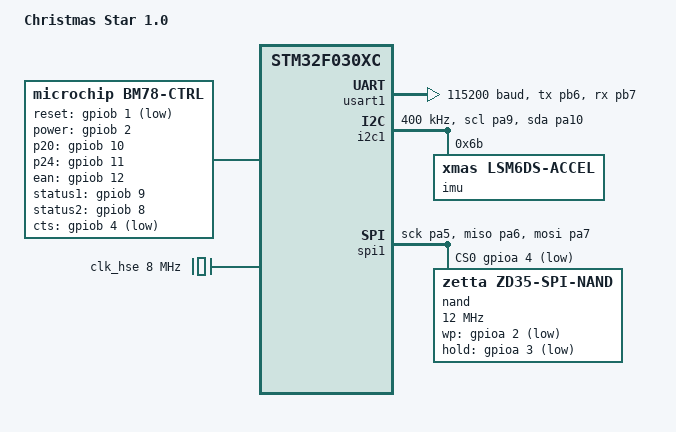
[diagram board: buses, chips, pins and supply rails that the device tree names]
/*
 * Copyright (c) 2024-2026 Tuomas Terho
 * SPDX-License-Identifier: MIT
 *
 * Christmas Star hardware 1.0
 * MCU: STM32F030RCT6, 8 MHz HCMOS oscillator (X401) on PF0 (HSE bypass).
 */

/dts-v1/;
#include <st/f0/stm32f030Xc.dtsi>
#include <st/f0/stm32f030rctx-pinctrl.dtsi>
#include <zephyr/dt-bindings/led/led.h>
#include <zephyr/dt-bindings/gpio/gpio.h>

/ {
	model = "Christmas Star 1.0";
	compatible = "xmas,christmas-star";

	chosen {
		zephyr,shell-uart = &usart1;
		zephyr,sram = &sram0;
		zephyr,flash = &flash0;
		zephyr,settings-partition = &storage_partition;
		zephyr,code-partition = &slot0_partition;
	};

	aliases {
		led-strip = &led_strip;
	};

	/* BM78 Bluetooth SPP module (U502) control and status lines. */
	bm78: bm78 {
		compatible = "microchip,bm78-ctrl";
		reset-gpios = <&gpiob 1 GPIO_ACTIVE_LOW>;     /* BT-RESET    -> ~RST    */
		power-gpios = <&gpiob 2 GPIO_ACTIVE_HIGH>;    /* BT-POWER-ON -> SW_BTN  */
		p20-gpios = <&gpiob 10 GPIO_ACTIVE_HIGH>;     /* BT-CONF-0   -> P2_0    */
		p24-gpios = <&gpiob 11 GPIO_ACTIVE_HIGH>;     /* BT-CONF-1   -> P2_4    */
		ean-gpios = <&gpiob 12 GPIO_ACTIVE_HIGH>;     /* BT-CONF-EAN -> EAN     */
		status1-gpios = <&gpiob 9 GPIO_ACTIVE_HIGH>;  /* BT-STATUS-1 <- P1_5    */
		status2-gpios = <&gpiob 8 GPIO_ACTIVE_HIGH>;  /* BT-STATUS-2 <- P0_4    */
		cts-gpios = <&gpiob 4 GPIO_ACTIVE_LOW>;       /* UART-CTS    -> P1_7 (BM78 CTS input)  */
		rts-gpios = <&gpiob 3 GPIO_ACTIVE_LOW>;       /* UART-RTS    <- P0_0 (BM78 RTS output) */
	};
};

&clk_hse {
	hse-bypass;
	clock-frequency = <DT_FREQ_M(8)>;
	status = "okay";
};

&pll {
	prediv = <1>;
	mul = <6>;
	clocks = <&clk_hse>;
	status = "okay";
};

&rcc {
	clocks = <&pll>;
	clock-frequency = <DT_FREQ_M(48)>;
	ahb-prescaler = <1>;
	apb1-prescaler = <1>;
};

/* Unused ports, saves RAM. */
&gpiod {
	status = "disabled";
};

&gpiof {
	status = "disabled";
};

/* BM78 serial link (shell + XMODEM). Hardware flow control is not
 * available on PB3/PB4, so they are driven as GPIOs.
 */
&usart1 {
	pinctrl-0 = <&usart1_tx_pb6 &usart1_rx_pb7>;
	pinctrl-names = "default";
	current-speed = <115200>;
	status = "okay";
};

/* LSM6DS3 / LSM6DSL accelerometer, SA0 tied high -> 0x6B. */
&i2c1 {
	pinctrl-0 = <&i2c1_scl_pa9 &i2c1_sda_pa10>;
	pinctrl-names = "default";
	clock-frequency = <I2C_BITRATE_FAST>;
	status = "okay";

	imu: lsm6ds@6b {
		compatible = "xmas,lsm6ds-accel";
		reg = <0x6b>;
	};
};

/* ZD35Q2GC 2 Gbit SPI NAND (U403). */
&spi1 {
	pinctrl-0 = <&spi1_sck_pa5 &spi1_miso_pa6 &spi1_mosi_pa7>;
	pinctrl-names = "default";
	cs-gpios = <&gpioa 4 (GPIO_ACTIVE_LOW | GPIO_PULL_UP)>;
	status = "okay";

	nand: nand@0 {
		compatible = "zetta,zd35-spi-nand";
		reg = <0>;
		spi-max-frequency = <DT_FREQ_M(12)>;
		wp-gpios = <&gpioa 2 GPIO_ACTIVE_LOW>;
		hold-gpios = <&gpioa 3 GPIO_ACTIVE_LOW>;
	};
};

/* LED chain data on PC3 (SPI2 MOSI) -> R501 -> U501 level shifter -> D201.
 * Driven by the app's own driver (src/led/led_spi_dma.c): SPI2 transmit-only
 * at 48 MHz / 8 = 6 MHz with DMA1 channel 5, one SPI byte per LED bit:
 *   0 = 0xC0 -> 0.33 us high, 1 = 0xF8 -> 0.83 us high, 300 us latch.
 * Zephyr's SPI driver needs full-duplex DMA on the F0 and its RX DMA stalled,
 * so spi2 and dma1 stay disabled for Zephyr's drivers.
 * The pin is pulled down so the line idles low.
 */
&spi2_mosi_pc3 {
	slew-rate = "very-high-speed";
	bias-pull-down;
};

/ {
	led_strip: led-strip {
		compatible = "xmas,led-spi-dma";
		pinctrl-0 = <&spi2_mosi_pc3>;
		pinctrl-names = "default";
		chain-length = <132>;
	};
};

&flash0 {
	partitions {
		compatible = "fixed-partitions";
		#address-cells = <1>;
		#size-cells = <1>;

		/*
		 * MCUboot (32 KB), two firmware slots (108 KB each: the running
		 * one and the incoming update, swapped by MCUboot), settings.
		 */
		boot_partition: partition@0 {
			label = "mcuboot";
			reg = <0x00000000 DT_SIZE_K(32)>;
		};

		slot0_partition: partition@8000 {
			label = "image-0";
			reg = <0x00008000 DT_SIZE_K(108)>;
		};

		slot1_partition: partition@23000 {
			label = "image-1";
			reg = <0x00023000 DT_SIZE_K(108)>;
		};

		/* Last 8 KB (4 x 2 KB pages) for settings (NVS), same place as
		 * before the bootloader, so settings survive the change.
		 */
		storage_partition: partition@3e000 {
			label = "storage";
			reg = <0x0003e000 DT_SIZE_K(8)>;
		};
	};
};
